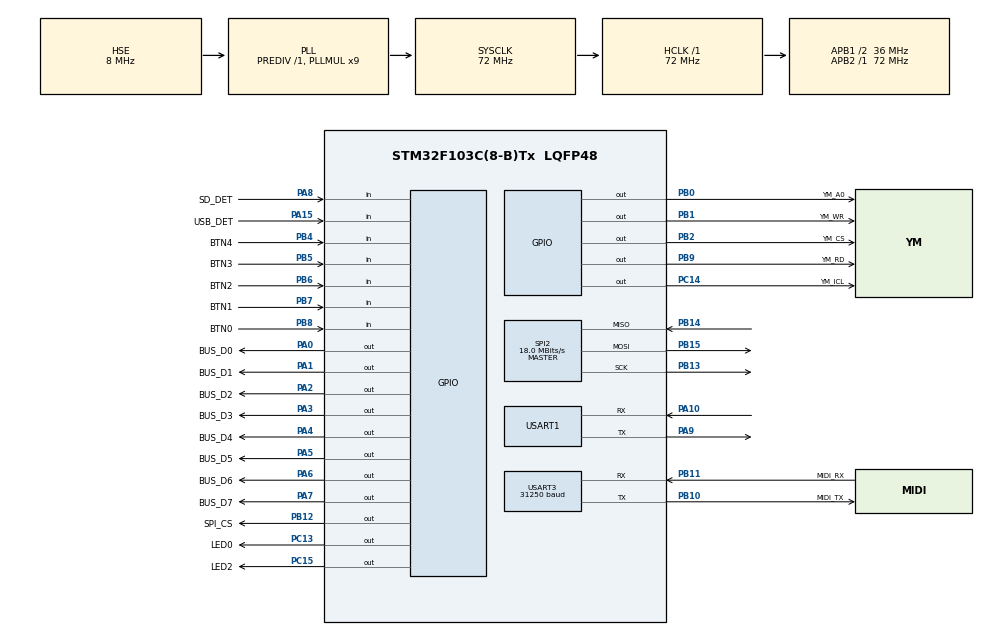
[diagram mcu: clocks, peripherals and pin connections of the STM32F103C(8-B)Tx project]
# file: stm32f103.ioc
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FATFS._FS_REENTRANT=0
FATFS._USE_LFN=0
FATFS._USE_MKFS=0
FATFS._USE_STRFUNC=1
FREERTOS.MEMORY_ALLOCATION=1
FREERTOS.Tasks01=defaultTask,2,768,StartDefaultTask,Default,NULL,Static,defaultTaskBuffer,defaultTaskControlBlock;myTask02,-2,128,StartTask02,Default,NULL,Static,myTask02Buffer,myTask02ControlBlock
FREERTOS.configCHECK_FOR_STACK_OVERFLOW=1
FREERTOS.configGENERATE_RUN_TIME_STATS=0
FREERTOS.configMINIMAL_STACK_SIZE=128
FREERTOS.configUSE_NEWLIB_REENTRANT=1
FREERTOS.configUSE_STATS_FORMATTING_FUNCTIONS=0
FREERTOS.configUSE_TRACE_FACILITY=0
Mcu.Family=STM32F1
Mcu.Name=STM32F103C(8-B)Tx
Mcu.Package=LQFP48
NVIC.PriorityGroup=NVIC_PRIORITYGROUP_4
NVIC.TIM1_UP_IRQn=true\:4\:0\:true\:false\:true\:false\:false\:true\:true
NVIC.TIM4_IRQn=true\:5\:0\:true\:false\:true\:true\:true\:true\:true
NVIC.TimeBase=TIM1_UP_IRQn
NVIC.TimeBaseIP=TIM1
PA0-WKUP.GPIO_Label=BUS_D0
PA0-WKUP.Signal=GPIO_Output
PA1.GPIO_Label=BUS_D1
PA1.Signal=GPIO_Output
PA10.Mode=Asynchronous
PA10.Signal=USART1_RX
PA11.Signal=USB_DM
PA12.Signal=USB_DP
PA13.Mode=Serial_Wire
PA13.Signal=SYS_JTMS-SWDIO
PA14.Mode=Serial_Wire
PA14.Signal=SYS_JTCK-SWCLK
PA15.GPIO_Label=USB_DET
PA15.Signal=GPIO_Input
PA2.GPIO_Label=BUS_D2
PA2.Signal=GPIO_Output
PA3.GPIO_Label=BUS_D3
PA3.Signal=GPIO_Output
PA4.GPIO_Label=BUS_D4
PA4.Signal=GPIO_Output
PA5.GPIO_Label=BUS_D5
PA5.Signal=GPIO_Output
PA6.GPIO_Label=BUS_D6
PA6.Signal=GPIO_Output
PA7.GPIO_Label=BUS_D7
PA7.Signal=GPIO_Output
PA8.GPIO_Label=SD_DET
PA8.Signal=GPIO_Input
PA9.Mode=Asynchronous
PA9.Signal=USART1_TX
PB0.GPIO_Label=YM_A0
PB0.Signal=GPIO_Output
PB1.GPIO_Label=YM_WR
PB1.Signal=GPIO_Output
PB10.GPIO_Label=MIDI_TX
PB10.Mode=Asynchronous
PB10.Signal=USART3_TX
PB11.GPIO_Label=MIDI_RX
PB11.Mode=Asynchronous
PB11.Signal=USART3_RX
PB12.GPIO_Label=SPI_CS
PB12.Signal=GPIO_Output
PB13.Mode=Full_Duplex_Master
PB13.Signal=SPI2_SCK
PB14.Mode=Full_Duplex_Master
PB14.Signal=SPI2_MISO
PB15.Mode=Full_Duplex_Master
PB15.Signal=SPI2_MOSI
PB2.GPIO_Label=YM_CS
PB2.Signal=GPIO_Output
PB3.Signal=SYS_JTDO-TRACESWO
PB4.GPIO_Label=BTN4
PB4.Signal=GPIO_Input
PB5.GPIO_Label=BTN3
PB5.Signal=GPIO_Input
PB6.GPIO_Label=BTN2
PB6.Signal=GPIO_Input
PB7.GPIO_Label=BTN1
PB7.Signal=GPIO_Input
PB8.GPIO_Label=BTN0
PB8.Signal=GPIO_Input
PB9.GPIO_Label=YM_RD
PB9.Signal=GPIO_Output
PC13-TAMPER-RTC.GPIO_Label=LED0
PC13-TAMPER-RTC.Signal=GPIO_Output
PC14-OSC32_IN.GPIO_Label=YM_ICL
PC14-OSC32_IN.Signal=GPIO_Output
PC15-OSC32_OUT.GPIO_Label=LED2
PC15-OSC32_OUT.Signal=GPIO_Output
PD0-OSC_IN.Mode=HSE-External-Oscillator
PD0-OSC_IN.Signal=RCC_OSC_IN
PD1-OSC_OUT.Mode=HSE-External-Oscillator
PD1-OSC_OUT.Signal=RCC_OSC_OUT
ProjectManager.HeapSize=0x400
ProjectManager.StackSize=0x200
ProjectManager.TargetToolchain=STM32CubeIDE
RCC.AHBFreq_Value=72000000
RCC.APB1CLKDivider=RCC_HCLK_DIV2
RCC.APB1Freq_Value=36000000
RCC.APB1TimFreq_Value=72000000
RCC.APB2Freq_Value=72000000
RCC.APB2TimFreq_Value=72000000
RCC.HCLKFreq_Value=72000000
RCC.PLLMUL=RCC_PLL_MUL9
RCC.PLLSourceVirtual=RCC_PLLSOURCE_HSE
RCC.SYSCLKFreq_VALUE=72000000
RCC.SYSCLKSource=RCC_SYSCLKSOURCE_PLLCLK
RCC.USBFreq_Value=48000000
RCC.USBPrescaler=RCC_USBCLKSOURCE_PLL_DIV1_5
SPI2.BaudRatePrescaler=SPI_BAUDRATEPRESCALER_2
SPI2.CalculateBaudRate=18.0 MBits/s
SPI2.Direction=SPI_DIRECTION_2LINES
SPI2.Mode=SPI_MODE_MASTER
SPI2.VirtualType=VM_MASTER
USART1.VirtualMode=VM_ASYNC
USART3.BaudRate=31250
USART3.Mode=MODE_RX
USART3.VirtualMode=VM_ASYNC
VP_FATFS_VS_Generic.Mode=User_defined
VP_FREERTOS_VS_CMSIS_V1.Mode=CMSIS_V1
VP_SYS_VS_tim1.Mode=TIM1
VP_TIM4_VS_ClockSourceINT.Mode=Internal
board=custom

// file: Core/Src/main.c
/* USER CODE BEGIN Header */
/**
 ******************************************************************************
 * @file           : main.c
 * @brief          : Main program body
 ******************************************************************************
 * @attention
 *
 * Copyright (c) 2022 STMicroelectronics.
 * All rights reserved.
 *
 * This software is licensed under terms that can be found in the LICENSE file
 * in the root directory of this software component.
 * If no LICENSE file comes with this software, it is provided AS-IS.
 *
 ******************************************************************************
 */
/* USER CODE END Header */
#include "main.h"
#include "cmsis_os.h"
#include "fatfs.h"

/* USER CODE BEGIN Includes */
#include <stdio.h>
#include <string.h>
//#include <stdarg.h> //for va_list var arg functions
#include <ctype.h>
#include "vgmheader.h"
/* USER CODE END Includes */

SPI_HandleTypeDef hspi2;

TIM_HandleTypeDef htim4;

UART_HandleTypeDef huart1;
UART_HandleTypeDef huart3;

osThreadId defaultTaskHandle;
uint32_t defaultTaskBuffer[ 768 ];
osStaticThreadDef_t defaultTaskControlBlock;
osThreadId myTask02Handle;
uint32_t myTask02Buffer[ 128 ];
osStaticThreadDef_t myTask02ControlBlock;
/* USER CODE BEGIN PV */
volatile unsigned long ulHighFrequencyTimerTicks;

/* USER CODE END PV */

void SystemClock_Config(void);
static void MX_GPIO_Init(void);
static void MX_SPI2_Init(void);
static void MX_USART1_UART_Init(void);
static void MX_USART3_UART_Init(void);
static void MX_TIM4_Init(void);
void StartDefaultTask(void const * argument);
void StartTask02(void const * argument);

/* USER CODE BEGIN PFP */
void myprintf(const char *fmt, ...);
/* USER CODE END PFP */

/* USER CODE BEGIN 0 */
int __io_putchar(int ch)
{
    HAL_UART_Transmit(&huart1, (uint8_t*)&ch, 1, -1);
}
/*void myprintf(const char *fmt, ...) {
  static char buffer[256];
  va_list args;
  va_start(args, fmt);
  vsnprintf(buffer, sizeof(buffer), fmt, args);
  va_end(args);

  int len = strlen(buffer);
  HAL_UART_Transmit(&huart1, (uint8_t*)buffer, len, -1);

}*/
#define myprintf printf
/* USER CODE END 0 */

int main(void)
{
  /* USER CODE BEGIN 1 */
    //initialise_monitor_handles();
  /* USER CODE END 1 */

  /* MCU Configuration--------------------------------------------------------*/

  /* Reset of all peripherals, Initializes the Flash interface and the Systick. */
  HAL_Init();

  /* Configure the system clock */
  SystemClock_Config();

  /* Initialize all configured peripherals */
  MX_GPIO_Init();
  MX_SPI2_Init();
  MX_USART1_UART_Init();
  MX_USART3_UART_Init();
  MX_FATFS_Init();
  MX_TIM4_Init();

  /* Create the thread(s) */
  /* definition and creation of defaultTask */
  osThreadStaticDef(defaultTask, StartDefaultTask, osPriorityHigh, 0, 768, defaultTaskBuffer, &defaultTaskControlBlock);
  defaultTaskHandle = osThreadCreate(osThread(defaultTask), NULL);

  /* definition and creation of myTask02 */
  osThreadStaticDef(myTask02, StartTask02, osPriorityLow, 0, 128, myTask02Buffer, &myTask02ControlBlock);
  myTask02Handle = osThreadCreate(osThread(myTask02), NULL);

  /* Start scheduler */
  osKernelStart();

  /* We should never get here as control is now taken by the scheduler */
  /* Infinite loop */
    while (1)
    {

    }
}

void SystemClock_Config(void)
{
  RCC_OscInitTypeDef RCC_OscInitStruct = {0};
  RCC_ClkInitTypeDef RCC_ClkInitStruct = {0};

  /** Initializes the RCC Oscillators according to the specified parameters
  * in the RCC_OscInitTypeDef structure.
  */
  RCC_OscInitStruct.OscillatorType = RCC_OSCILLATORTYPE_HSE;
  RCC_OscInitStruct.HSEState = RCC_HSE_ON;
  RCC_OscInitStruct.HSEPredivValue = RCC_HSE_PREDIV_DIV1;
  RCC_OscInitStruct.HSIState = RCC_HSI_ON;
  RCC_OscInitStruct.PLL.PLLState = RCC_PLL_ON;
  RCC_OscInitStruct.PLL.PLLSource = RCC_PLLSOURCE_HSE;
  RCC_OscInitStruct.PLL.PLLMUL = RCC_PLL_MUL9;
  if (HAL_RCC_OscConfig(&RCC_OscInitStruct) != HAL_OK)
  {
    Error_Handler();
  }

  /** Initializes the CPU, AHB and APB buses clocks
  */
  RCC_ClkInitStruct.ClockType = RCC_CLOCKTYPE_HCLK|RCC_CLOCKTYPE_SYSCLK
                              |RCC_CLOCKTYPE_PCLK1|RCC_CLOCKTYPE_PCLK2;
  RCC_ClkInitStruct.SYSCLKSource = RCC_SYSCLKSOURCE_PLLCLK;
  RCC_ClkInitStruct.AHBCLKDivider = RCC_SYSCLK_DIV1;
  RCC_ClkInitStruct.APB1CLKDivider = RCC_HCLK_DIV2;
  RCC_ClkInitStruct.APB2CLKDivider = RCC_HCLK_DIV1;

  if (HAL_RCC_ClockConfig(&RCC_ClkInitStruct, FLASH_LATENCY_2) != HAL_OK)
  {
    Error_Handler();
  }
}

static void MX_SPI2_Init(void)
{

  /* SPI2 parameter configuration*/
  hspi2.Instance = SPI2;
  hspi2.Init.Mode = SPI_MODE_MASTER;
  hspi2.Init.Direction = SPI_DIRECTION_2LINES;
  hspi2.Init.DataSize = SPI_DATASIZE_8BIT;
  hspi2.Init.CLKPolarity = SPI_POLARITY_LOW;
  hspi2.Init.CLKPhase = SPI_PHASE_1EDGE;
  hspi2.Init.NSS = SPI_NSS_SOFT;
  hspi2.Init.BaudRatePrescaler = SPI_BAUDRATEPRESCALER_2;
  hspi2.Init.FirstBit = SPI_FIRSTBIT_MSB;
  hspi2.Init.TIMode = SPI_TIMODE_DISABLE;
  hspi2.Init.CRCCalculation = SPI_CRCCALCULATION_DISABLE;
  hspi2.Init.CRCPolynomial = 10;
  if (HAL_SPI_Init(&hspi2) != HAL_OK)
  {
    Error_Handler();
  }

}

static void MX_TIM4_Init(void)
{

  TIM_ClockConfigTypeDef sClockSourceConfig = {0};
  TIM_MasterConfigTypeDef sMasterConfig = {0};

  htim4.Instance = TIM4;
  htim4.Init.Prescaler = 0;
  htim4.Init.CounterMode = TIM_COUNTERMODE_UP;
  htim4.Init.Period = 65535;
  htim4.Init.ClockDivision = TIM_CLOCKDIVISION_DIV1;
  htim4.Init.AutoReloadPreload = TIM_AUTORELOAD_PRELOAD_DISABLE;
  if (HAL_TIM_Base_Init(&htim4) != HAL_OK)
  {
    Error_Handler();
  }
  sClockSourceConfig.ClockSource = TIM_CLOCKSOURCE_INTERNAL;
  if (HAL_TIM_ConfigClockSource(&htim4, &sClockSourceConfig) != HAL_OK)
  {
    Error_Handler();
  }
  sMasterConfig.MasterOutputTrigger = TIM_TRGO_RESET;
  sMasterConfig.MasterSlaveMode = TIM_MASTERSLAVEMODE_DISABLE;
  if (HAL_TIMEx_MasterConfigSynchronization(&htim4, &sMasterConfig) != HAL_OK)
  {
    Error_Handler();
  }

}

static void MX_USART1_UART_Init(void)
{

  huart1.Instance = USART1;
  huart1.Init.BaudRate = 115200;
  huart1.Init.WordLength = UART_WORDLENGTH_8B;
  huart1.Init.StopBits = UART_STOPBITS_1;
  huart1.Init.Parity = UART_PARITY_NONE;
  huart1.Init.Mode = UART_MODE_TX_RX;
  huart1.Init.HwFlowCtl = UART_HWCONTROL_NONE;
  huart1.Init.OverSampling = UART_OVERSAMPLING_16;
  if (HAL_UART_Init(&huart1) != HAL_OK)
  {
    Error_Handler();
  }

}

static void MX_USART3_UART_Init(void)
{

  huart3.Instance = USART3;
  huart3.Init.BaudRate = 31250;
  huart3.Init.WordLength = UART_WORDLENGTH_8B;
  huart3.Init.StopBits = UART_STOPBITS_1;
  huart3.Init.Parity = UART_PARITY_NONE;
  huart3.Init.Mode = UART_MODE_RX;
  huart3.Init.HwFlowCtl = UART_HWCONTROL_NONE;
  huart3.Init.OverSampling = UART_OVERSAMPLING_16;
  if (HAL_UART_Init(&huart3) != HAL_OK)
  {
    Error_Handler();
  }

}

static void MX_GPIO_Init(void)
{
  GPIO_InitTypeDef GPIO_InitStruct = {0};

  /* GPIO Ports Clock Enable */
  __HAL_RCC_GPIOC_CLK_ENABLE();
  __HAL_RCC_GPIOD_CLK_ENABLE();
  __HAL_RCC_GPIOA_CLK_ENABLE();
  __HAL_RCC_GPIOB_CLK_ENABLE();

  /*Configure GPIO pin Output Level */
  HAL_GPIO_WritePin(GPIOC, LED0_Pin|YM_ICL_Pin|LED2_Pin, GPIO_PIN_RESET);

  /*Configure GPIO pin Output Level */
  HAL_GPIO_WritePin(GPIOA, BUS_D0_Pin|BUS_D1_Pin|BUS_D2_Pin|BUS_D3_Pin
                          |BUS_D4_Pin|BUS_D5_Pin|BUS_D6_Pin|BUS_D7_Pin, GPIO_PIN_RESET);

  /*Configure GPIO pin Output Level */
  HAL_GPIO_WritePin(GPIOB, YM_A0_Pin|YM_WR_Pin|YM_CS_Pin|SPI_CS_Pin
                          |YM_RD_Pin, GPIO_PIN_RESET);

  /*Configure GPIO pins : LED0_Pin YM_ICL_Pin LED2_Pin */
  GPIO_InitStruct.Pin = LED0_Pin|YM_ICL_Pin|LED2_Pin;
  GPIO_InitStruct.Mode = GPIO_MODE_OUTPUT_PP;
  GPIO_InitStruct.Pull = GPIO_NOPULL;
  GPIO_InitStruct.Speed = GPIO_SPEED_FREQ_LOW;
  HAL_GPIO_Init(GPIOC, &GPIO_InitStruct);

  /*Configure GPIO pins : BUS_D0_Pin BUS_D1_Pin BUS_D2_Pin BUS_D3_Pin
                           BUS_D4_Pin BUS_D5_Pin BUS_D6_Pin BUS_D7_Pin */
  GPIO_InitStruct.Pin = BUS_D0_Pin|BUS_D1_Pin|BUS_D2_Pin|BUS_D3_Pin
                          |BUS_D4_Pin|BUS_D5_Pin|BUS_D6_Pin|BUS_D7_Pin;
  GPIO_InitStruct.Mode = GPIO_MODE_OUTPUT_PP;
  GPIO_InitStruct.Pull = GPIO_NOPULL;
  GPIO_InitStruct.Speed = GPIO_SPEED_FREQ_LOW;
  HAL_GPIO_Init(GPIOA, &GPIO_InitStruct);

  /*Configure GPIO pins : YM_A0_Pin YM_WR_Pin YM_CS_Pin SPI_CS_Pin
                           YM_RD_Pin */
  GPIO_InitStruct.Pin = YM_A0_Pin|YM_WR_Pin|YM_CS_Pin|SPI_CS_Pin
                          |YM_RD_Pin;
  GPIO_InitStruct.Mode = GPIO_MODE_OUTPUT_PP;
  GPIO_InitStruct.Pull = GPIO_NOPULL;
  GPIO_InitStruct.Speed = GPIO_SPEED_FREQ_LOW;
  HAL_GPIO_Init(GPIOB, &GPIO_InitStruct);

  /*Configure GPIO pins : SD_DET_Pin USB_DET_Pin */
  GPIO_InitStruct.Pin = SD_DET_Pin|USB_DET_Pin;
  GPIO_InitStruct.Mode = GPIO_MODE_INPUT;
  GPIO_InitStruct.Pull = GPIO_NOPULL;
  HAL_GPIO_Init(GPIOA, &GPIO_InitStruct);

  /*Configure GPIO pins : BTN4_Pin BTN3_Pin BTN2_Pin BTN1_Pin
                           BTN0_Pin */
  GPIO_InitStruct.Pin = BTN4_Pin|BTN3_Pin|BTN2_Pin|BTN1_Pin
                          |BTN0_Pin;
  GPIO_InitStruct.Mode = GPIO_MODE_INPUT;
  GPIO_InitStruct.Pull = GPIO_NOPULL;
  HAL_GPIO_Init(GPIOB, &GPIO_InitStruct);

}

/* USER CODE BEGIN 4 */

volatile int32_t waitSamples = 0;

#define HAL_GPIO_WriteNamedPin(name, value) HAL_GPIO_WritePin(name##_GPIO_Port, name##_Pin, value)

/* Code taken from https://github.com/AidanHockey5/YM2151_Arcade_Classic_2/ */

void ym2151_write(uint8_t addr, uint8_t data)
{
    HAL_GPIO_WriteNamedPin(YM_CS, 0); // CS Low
    HAL_GPIO_WriteNamedPin(YM_A0, 0); // A0 Low

    HAL_GPIO_WriteNamedPin(BUS_D0, addr & (1 << 0));
    HAL_GPIO_WriteNamedPin(BUS_D1, addr & (1 << 1));
    HAL_GPIO_WriteNamedPin(BUS_D2, addr & (1 << 2));
    HAL_GPIO_WriteNamedPin(BUS_D3, addr & (1 << 3));
    HAL_GPIO_WriteNamedPin(BUS_D4, addr & (1 << 4));
    HAL_GPIO_WriteNamedPin(BUS_D5, addr & (1 << 5));
    HAL_GPIO_WriteNamedPin(BUS_D6, addr & (1 << 6));
    HAL_GPIO_WriteNamedPin(BUS_D7, addr & (1 << 7));

    __NOP(); // 240ns

    HAL_GPIO_WriteNamedPin(YM_WR, 0); // WR Low
    __NOP();                          // 240ns
    HAL_GPIO_WriteNamedPin(YM_WR, 1); // WR High
    __NOP();                          // 125ns
    HAL_GPIO_WriteNamedPin(YM_A0, 1); // A0 High
    __NOP();                          // 125ns

    HAL_GPIO_WriteNamedPin(BUS_D0, data & (1 << 0));
    HAL_GPIO_WriteNamedPin(BUS_D1, data & (1 << 1));
    HAL_GPIO_WriteNamedPin(BUS_D2, data & (1 << 2));
    HAL_GPIO_WriteNamedPin(BUS_D3, data & (1 << 3));
    HAL_GPIO_WriteNamedPin(BUS_D4, data & (1 << 4));
    HAL_GPIO_WriteNamedPin(BUS_D5, data & (1 << 5));
    HAL_GPIO_WriteNamedPin(BUS_D6, data & (1 << 6));
    HAL_GPIO_WriteNamedPin(BUS_D7, data & (1 << 7));

    __NOP(); // 240ns

    HAL_GPIO_WriteNamedPin(YM_WR, 0); // WR Low
    __NOP();                          // 240ns
    HAL_GPIO_WriteNamedPin(YM_WR, 1); // WR High

    HAL_GPIO_WriteNamedPin(YM_CS, 1); // CS High

    __NOP();
    __NOP();
    __NOP();
    __NOP();
    __NOP();
    __NOP(); // Busy flag on chip will be set, but we can't read it since MCU is 3.3V. 11 micros is about the time where the worst-case busy clear time is satisfied.
             // Writing again too quickly will corrupt the data on the chip
}

void ym2151_reset(void)
{
    HAL_GPIO_WriteNamedPin(YM_ICL, 0); // ICL Low
    osDelay(1);
    HAL_GPIO_WriteNamedPin(YM_ICL, 1); // ICL High
    osDelay(1);
}

void samples_wait(uint32_t samples)
{
    HAL_GPIO_WritePin(LED0_GPIO_Port, LED0_Pin, 0);

    waitSamples = samples;

    ulTaskNotifyTake(0, portMAX_DELAY);

    HAL_GPIO_WritePin(LED0_GPIO_Port, LED0_Pin, 1);
}

vgm_header header;
void process_vgm(char *path)
{
    FIL fil;      // File handle
    FRESULT fres; // Result after operations
    uint16_t loopCount = 0;
    uint32_t loopPos = 0; // The location of the 0x66 command

    myprintf("%s: processing '%s'\n", __func__, path);

    fres = f_open(&fil, path, FA_READ);
    if (fres != FR_OK)
    {
        myprintf("f_open error (%i)\n", fres);
        return;
    }

    unsigned int read = 0;
    fres = f_read(&fil, &header, sizeof(header), &read);
    if (fres != FR_OK)
    {
        myprintf("f_read error (%i)\n", fres);
        goto cleanup;
    }
    if (read != sizeof(header))
    {
        myprintf("f_read size mismatch (%i)\n", fres);
        goto cleanup;
    }

    myprintf("  ym2151Clock = %ld Hz\n", (unsigned int)header.ym2151Clock);
    myprintf("  rate = %ld\n", (unsigned int)header.rate);
    /*myprintf("  indent = 0x%x\n", (unsigned int)header.indent);
    myprintf("  EoF = 0x%x\n", (unsigned int)header.EoF);
    myprintf("  version = 0x%x\n", (unsigned int)header.version);
    myprintf("  sn76489Clock = 0x%x\n", (unsigned int)header.sn76489Clock);
    myprintf("  ym2413Clock = 0x%x\n", (unsigned int)header.ym2413Clock);
    myprintf("  gd3Offset = 0x%x\n", (unsigned int)header.gd3Offset);
    myprintf("  totalSamples = 0x%x\n", (unsigned int)header.totalSamples);
    myprintf("  loopOffset = 0x%x\n", (unsigned int)header.loopOffset);
    myprintf("  loopNumSamples = 0x%x\n", (unsigned int)header.loopNumSamples);
    myprintf("  rate = 0x%x\n", (unsigned int)header.rate);
    myprintf("  snX = 0x%x\n", (unsigned int)header.snX);
    myprintf("  ym2612Clock = 0x%x\n", (unsigned int)header.ym2612Clock);
    myprintf("  ym2151Clock = 0x%x\n", (unsigned int)header.ym2151Clock);
    myprintf("  vgmDataOffset = 0x%x\n", (unsigned int)header.vgmDataOffset);
    myprintf("  segaPCMClock = 0x%x\n", (unsigned int)header.segaPCMClock);
    myprintf("  spcmInterface = 0x%x\n", (unsigned int)header.spcmInterface);
    myprintf("  rf5C68clock = 0x%x\n", (unsigned int)header.rf5C68clock);
    myprintf("  ym2203clock = 0x%x\n", (unsigned int)header.ym2203clock);
    myprintf("  ym2608clock = 0x%x\n", (unsigned int)header.ym2608clock);
    myprintf("  ym2610clock = 0x%x\n", (unsigned int)header.ym2610clock);
    myprintf("  ym3812clock = 0x%x\n", (unsigned int)header.ym3812clock);
    myprintf("  ym3526clock = 0x%x\n", (unsigned int)header.ym3526clock);
    myprintf("  y8950clock = 0x%x\n", (unsigned int)header.y8950clock);
    myprintf("  ymf262clock = 0x%x\n", (unsigned int)header.ymf262clock);
    myprintf("  ymf278bclock = 0x%x\n", (unsigned int)header.ymf278bclock);
    myprintf("  ymf271clock = 0x%x\n", (unsigned int)header.ymf271clock);
    myprintf("  ymz280Bclock = 0x%x\n", (unsigned int)header.ymz280Bclock);
    myprintf("  rf5C164clock = 0x%x\n", (unsigned int)header.rf5C164clock);
    myprintf("  pwmclock = 0x%x\n", (unsigned int)header.pwmclock);
    myprintf("  ay8910clock = 0x%x\n", (unsigned int)header.ay8910clock);
    myprintf("  ayclockflags = 0x%x\n", (unsigned int)header.ayclockflags);
    myprintf("  vmlblm = 0x%x\n", (unsigned int)header.vmlblm);
    myprintf("  gbdgmclock = 0x%x\n", (unsigned int)header.gbdgmclock);
    myprintf("  nesapuclock = 0x%x\n", (unsigned int)header.nesapuclock);
    myprintf("  multipcmclock = 0x%x\n", (unsigned int)header.multipcmclock);
    myprintf("  upd7759clock = 0x%x\n", (unsigned int)header.upd7759clock);
    myprintf("  okim6258clock = 0x%x\n", (unsigned int)header.okim6258clock);
    myprintf("  ofkfcf = 0x%x\n", (unsigned int)header.ofkfcf);
    myprintf("  okim6295clock = 0x%x\n", (unsigned int)header.okim6295clock);
    myprintf("  k051649clock = 0x%x\n", (unsigned int)header.k051649clock);
    myprintf("  k054539clock = 0x%x\n", (unsigned int)header.k054539clock);
    myprintf("  huc6280clock = 0x%x\n", (unsigned int)header.huc6280clock);
    myprintf("  c140clock = 0x%x\n", (unsigned int)header.c140clock);
    myprintf("  k053260clock = 0x%x\n", (unsigned int)header.k053260clock);
    myprintf("  pokeyclock = 0x%x\n", (unsigned int)header.pokeyclock);
    myprintf("  qsoundclock = 0x%x\n", (unsigned int)header.qsoundclock);
    myprintf("  scspclock = 0x%x\n", (unsigned int)header.scspclock);
    myprintf("  extrahdrofs = 0x%x\n", (unsigned int)header.extrahdrofs);
    myprintf("  wonderswanclock = 0x%x\n", (unsigned int)header.wonderswanclock);
    myprintf("  vsuClock = 0x%x\n", (unsigned int)header.vsuClock);
    myprintf("  saa1099clock = 0x%x\n", (unsigned int)header.saa1099clock);
    myprintf("  es5503clock = 0x%x\n", (unsigned int)header.es5503clock);
    myprintf("  es5506clock = 0x%x\n", (unsigned int)header.es5506clock);
    myprintf("  eschcdxx = 0x%x\n", (unsigned int)header.eschcdxx);
    myprintf("  x1010clock = 0x%x\n", (unsigned int)header.x1010clock);
    myprintf("  c352clock = 0x%x\n", (unsigned int)header.c352clock);
    myprintf("  ga20clock = 0x%x\n", (unsigned int)header.ga20clock);*/

    if (header.vgmDataOffset == 0)
    {
        f_lseek(&fil, 0x40);
    }
    else
    {
        f_lseek(&fil, header.vgmDataOffset + 0x34);
    }

    if (header.gd3Offset != 0)
    {
        loopPos = header.gd3Offset + 0x14 - 1;
    }
    else
    {
        loopPos = header.EoF + 4 - 1;
    }

    ym2151_reset();

    uint8_t breakit = 0;
    while (breakit == 0)
    {
        uint8_t cmd;
        uint8_t data;
        uint8_t addr;
        uint16_t nsamples;
        fres = f_read(&fil, &cmd, 1, &read);
        if (read != 1)
        {
            myprintf("read != 1 (%i)\r\n", read);
            goto cleanup;
        }

        switch (cmd)
        {
        case 0x31:
        {
            f_read(&fil, &data, 1, &read);
            break;
        }
        case 0x4f:
        {
            f_read(&fil, &data, 1, &read);
            break;
        }
        case 0x50:
        {
            f_read(&fil, &data, 1, &read);
            break;
        }

        case 0x51:
        {
            f_read(&fil, &addr, 1, &read);
            f_read(&fil, &data, 1, &read);
            break;
        }
        case 0x52:
        {
            f_read(&fil, &addr, 1, &read);
            f_read(&fil, &data, 1, &read);
            break;
        }
        case 0x53:
        {
            f_read(&fil, &addr, 1, &read);
            f_read(&fil, &data, 1, &read);
            break;
        }
        case 0x54:
        {
            f_read(&fil, &addr, 1, &read);
            f_read(&fil, &data, 1, &read);

            // myprintf("ym2151_write addr = 0x%x, data = 0x%x\r\n", addr, data);
            ym2151_write(addr, data);
            break;
        }
        case 0x55:
        {
            f_read(&fil, &addr, 1, &read);
            f_read(&fil, &data, 1, &read);
            break;
        }
        case 0x56:
        {
            f_read(&fil, &addr, 1, &read);
            f_read(&fil, &data, 1, &read);
            break;
        }
        case 0x57:
        {
            f_read(&fil, &addr, 1, &read);
            f_read(&fil, &data, 1, &read);
            break;
        }
        case 0x58:
        {
            f_read(&fil, &addr, 1, &read);
            f_read(&fil, &data, 1, &read);
            break;
        }
        case 0x59:
        {
            f_read(&fil, &addr, 1, &read);
            f_read(&fil, &data, 1, &read);
            break;
        }
        case 0x5a:
        {
            f_read(&fil, &addr, 1, &read);
            f_read(&fil, &data, 1, &read);
            break;
        }
        case 0x5b:
        {
            f_read(&fil, &addr, 1, &read);
            f_read(&fil, &data, 1, &read);
            break;
        }
        case 0x5c:
        {
            f_read(&fil, &addr, 1, &read);
            f_read(&fil, &data, 1, &read);
            break;
        }
        case 0x5d:
        {
            f_read(&fil, &addr, 1, &read);
            f_read(&fil, &data, 1, &read);
            break;
        }
        case 0x5e:
        {
            f_read(&fil, &addr, 1, &read);
            f_read(&fil, &data, 1, &read);
            break;
        }
        case 0x5f:
        {
            f_read(&fil, &addr, 1, &read);
            f_read(&fil, &data, 1, &read);
            break;
        }

        case 0x61:
        {
            f_read(&fil, &nsamples, 2, &read);
            samples_wait(nsamples);
            break;
        }
        case 0x62:
        {
            samples_wait(735);
            break;
        }
        case 0x63:
        {
            samples_wait(882);
            break;
        }
        case 0x66:
        {
            // Loop
            // if(maxLoops != 0xFFFF) //If sent to short int max, just loop forever
            //     loopCount++;
            //
            if (++loopCount < 1)
            {
                myprintf(" looping once!\n");
                if (header.loopOffset != 0)
                {
                    f_lseek(&fil, header.loopOffset + 0x1c);
                }
                else
                {
                    if (header.vgmDataOffset == 0)
                    {
                        f_lseek(&fil, 0x40);
                    }
                    else
                    {
                        f_lseek(&fil, header.vgmDataOffset + 0x34);
                    }
                }
            }
            else
            {
                breakit = 1;
            }
            break;
        }
        case 0x67:
        {
            f_read(&fil, &data, 1, &read);
            f_read(&fil, &data, 1, &read);
            uint32_t pcmSize;
            f_read(&fil, &pcmSize, 4, &read);
            for (uint32_t i = 0; i < pcmSize; i++)
            {
                f_read(&fil, &data, 1, &read);
            }
            break;
        }
        case 0x68:
        {
            myprintf("0x68 found, at 0x%x\n", f_tell(&fil));
            f_read(&fil, &data, 1, &read);
            f_read(&fil, &data, 1, &read);

            f_read(&fil, &data, 1, &read);
            f_read(&fil, &data, 1, &read);
            f_read(&fil, &data, 1, &read);

            f_read(&fil, &data, 1, &read);
            f_read(&fil, &data, 1, &read);
            f_read(&fil, &data, 1, &read);

            uint32_t pcmSize = 0;
            f_read(&fil, &pcmSize, 3, &read);
            for (uint32_t i = 0; i < pcmSize; i++)
            {
                f_read(&fil, &data, 1, &read);
            }
            break;
        }

        case 0x70:
        case 0x71:
        case 0x72:
        case 0x73:
        case 0x74:
        case 0x75:
        case 0x76:
        case 0x77:
        case 0x78:
        case 0x79:
        case 0x7A:
        case 0x7B:
        case 0x7C:
        case 0x7D:
        case 0x7E:
        case 0x7F:
        {
            samples_wait((cmd & 0xf) + 1);
            break;
        }

        case 0x80:
        case 0x81:
        case 0x82:
        case 0x83:
        case 0x84:
        case 0x85:
        case 0x86:
        case 0x87:
        case 0x88:
        case 0x89:
        case 0x8A:
        case 0x8B:
        case 0x8C:
        case 0x8D:
        case 0x8E:
        case 0x8F:
        {
            break;
        }

        case 0x90:
        {
            f_read(&fil, &nsamples, 2, &read);
            f_read(&fil, &nsamples, 2, &read);
            break;
        }
        case 0x91:
        {
            f_read(&fil, &nsamples, 2, &read);
            f_read(&fil, &nsamples, 2, &read);
            break;
        }
        case 0x92:
        {
            f_read(&fil, &data, 1, &read);
            uint32_t streamFreq;
            f_read(&fil, &streamFreq, 4, &read);
            break;
        }
        case 0x93:
        {
            f_read(&fil, &data, 1, &read);
            uint32_t streamFreq;
            f_read(&fil, &streamFreq, 4, &read);
            f_read(&fil, &data, 1, &read);
            f_read(&fil, &streamFreq, 4, &read);
            break;
        }
        case 0x94:
        {
            f_read(&fil, &data, 1, &read);
            break;
        }
        case 0x95:
        {
            f_read(&fil, &data, 1, &read);
            f_read(&fil, &nsamples, 2, &read);
            f_read(&fil, &data, 1, &read);
            break;
        }

        case 0xA0:
        case 0xB0:
        case 0xB1:
        case 0xB2:
        case 0xB5: // Ignore common secondary PCM chips
        case 0xB6:
        case 0xB7:
        case 0xB8:
        case 0xB9:
        case 0xBA:
        case 0xBB:
        case 0xBC:
        case 0xBD:
        case 0xBE:
        case 0xBF:
        {
            f_read(&fil, &nsamples, 2, &read);
            break;
        }

        case 0xC0: // 24 bit write PCM chips
        case 0xC1:
        case 0xC2:
        case 0xC3:
        case 0xC4:
        case 0xC5:
        case 0xC6:
        case 0xC7:
        case 0xC8:
        case 0xD0:
        case 0xD1:
        case 0xD2:
        case 0xD3:
        case 0xD4:
        case 0xD5:
        case 0xD6:
        {
            f_read(&fil, &data, 1, &read);
            f_read(&fil, &data, 1, &read);
            f_read(&fil, &data, 1, &read);
            break;
        }

        case 0xE0:
        {
            uint32_t dummy;
            f_read(&fil, &dummy, 4, &read);
            break;
        }
        case 0xE1:
        {
            uint32_t dummy;
            f_read(&fil, &dummy, 4, &read);
            break;
        }

        default:
        {
            myprintf("Unhandled case 0x%x\n", cmd);
            break;
        }
        }
    }

    ym2151_reset();

cleanup:
    f_close(&fil);
}
/* USER CODE END 4 */

void StartDefaultTask(void const * argument)
{
  /* USER CODE BEGIN 5 */
    myprintf("Hey dude! " __TIME__ " " __DATE__ "\n");
    myprintf("Running at %ld Hz\n", SystemCoreClock);

    HAL_Delay(1000); // a short delay is important to let the SD card settle

    HAL_GPIO_WriteNamedPin(YM_RD, 1);
    HAL_GPIO_WriteNamedPin(YM_WR, 1);
    HAL_GPIO_WriteNamedPin(YM_CS, 1);
    HAL_GPIO_WriteNamedPin(YM_A0, 0);

    uint32_t ARR_RegisterValue;
    uint32_t PeriodTicks;
    uint32_t Prescalerfactor;
    uint32_t period_cyc;

    period_cyc = SystemCoreClock / 44100;
    Prescalerfactor = (period_cyc / 0x10000) + 1;
    __HAL_TIM_SET_PRESCALER(&htim4, Prescalerfactor - 1);
    PeriodTicks = period_cyc / Prescalerfactor;

    if (PeriodTicks > 0)
    {
        // The register specifies the maximum value, so the period is really one tick longer
        ARR_RegisterValue = PeriodTicks - 1;
    }
    else
    {
        // But do not underflow in case a zero period was given somehow.
        ARR_RegisterValue = 0;
    }
    __HAL_TIM_SET_AUTORELOAD(&htim4, ARR_RegisterValue);
    // Start timer in Time base mode. Required when there is no channel used but only update interrupt.
    HAL_TIM_Base_Start_IT(&htim4);

    // some variables for FatFs
    FATFS FatFs;  // Fatfs handle
    FRESULT fres; // Result after operations

    // Open the file system
    fres = f_mount(&FatFs, "", 1); // 1=mount now
    if (fres != FR_OK)
    {
        myprintf("f_mount error (%i)\n", fres);
        while (1)
            ;
    }

    // Let's get some statistics from the SD card
    DWORD free_clusters, free_sectors, total_sectors;

    FATFS *getFreeFs;

    fres = f_getfree("", &free_clusters, &getFreeFs);
    if (fres != FR_OK)
    {
        myprintf("f_getfree error (%i)\n", fres);
        while (1)
            ;
    }

    // Formula comes from ChaN's documentation
    total_sectors = (getFreeFs->n_fatent - 2) * getFreeFs->csize;
    free_sectors = free_clusters * getFreeFs->csize;

    myprintf("SD card stats:\n%10lu KiB total drive space.\n%10lu KiB available.\n", total_sectors / 2, free_sectors / 2);
    FRESULT res;
    DIR dir;
    static FILINFO fno;

    for (;;)
    {
        res = f_opendir(&dir, "/"); /* Open the directory */
        if (res == FR_OK)
        {
            for (;;)
            {
                res = f_readdir(&dir, &fno); /* Read a directory item */
                if (res != FR_OK || fno.fname[0] == 0)
                    break; /* Break on error or end of dir */
                if (fno.fattrib & AM_DIR)
                { /* It is a directory */
                }
                else
                { /* It is a file. */
                    myprintf("%s\n", fno.fname);
                    if (strstr(fno.fname, ".VGM"))
                    {
                        process_vgm(fno.fname);
                    }
                }
            }
            f_closedir(&dir);
        }
    }

    /*

      //Read 30 bytes from "test.txt" on the SD card
      BYTE readBuf[30];

      //Now let's try to open file "test.txt"
      fres = f_open(&fil, "test.txt", FA_READ);
      if (fres != FR_OK) {
        myprintf("f_open error (%i)\n", fres);
        //while(1);
      }
      else
      {
        myprintf("I was able to open 'test.txt' for reading!\n");

        //We can either use f_read OR f_gets to get data out of files
        //f_gets is a wrapper on f_read that does some string formatting for us
        TCHAR* rres = f_gets((TCHAR*)readBuf, 30, &fil);
        if(rres != 0) {
        myprintf("Read string from 'test.txt' contents: %s\n", readBuf);
        } else {
        myprintf("f_gets error (%i)\n", fres);
        }

        //Be a tidy kiwi - don't forget to close your file!
        f_close(&fil);
      }

      //Now let's try and write a file "write.txt"
      fres = f_open(&fil, "write.txt", FA_WRITE | FA_OPEN_ALWAYS | FA_CREATE_ALWAYS);
      if(fres == FR_OK) {
      myprintf("I was able to open 'write.txt' for writing\n");
      } else {
      myprintf("f_open error (%i)\n", fres);
      }

      //Copy in a string
      strncpy((char*)readBuf, "a new file is made!", 19);
      UINT bytesWrote;
      fres = f_write(&fil, readBuf, 19, &bytesWrote);
      if(fres == FR_OK) {
      myprintf("Wrote %i bytes to 'write.txt'!\n", bytesWrote);
      } else {
      myprintf("f_write error (%i)\n");
      }

      //Be a tidy kiwi - don't forget to close your file!
      f_close(&fil);

    */

    // We're done, so de-mount the drive
    f_mount(NULL, "", 0);

    /* Infinite loop */
    for (;;)
    {
        osDelay(100);
        HAL_GPIO_TogglePin(GPIOC, GPIO_PIN_13);
    }
  /* USER CODE END 5 */
}

void StartTask02(void const * argument)
{
  /* USER CODE BEGIN StartTask02 */
  /* Infinite loop */
  for(;;)
  {
    HAL_GPIO_TogglePin(LED2_GPIO_Port, LED2_Pin);
    osDelay(500);
  }
  /* USER CODE END StartTask02 */
}

void HAL_TIM_PeriodElapsedCallback(TIM_HandleTypeDef *htim)
{
  if (htim->Instance == TIM1) {
    HAL_IncTick();
  }
  /* USER CODE BEGIN Callback 1 */
    else if (htim == &htim4)
    {
        if (waitSamples)
        {
            waitSamples--;
            if (waitSamples == 0)
            {
                BaseType_t xHigherPriorityTaskWoken = pdFALSE;
                vTaskNotifyGiveFromISR(defaultTaskHandle, &xHigherPriorityTaskWoken);
                portYIELD_FROM_ISR( xHigherPriorityTaskWoken );
            }
        }
    }
  /* USER CODE END Callback 1 */
}

void Error_Handler(void)
{
    __disable_irq();
    while (1)
    {
    }
}

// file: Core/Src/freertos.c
/* USER CODE BEGIN Header */
/**
  ******************************************************************************
  * File Name          : freertos.c
  * Description        : Code for freertos applications
  ******************************************************************************
  * @attention
  *
  * Copyright (c) 2022 STMicroelectronics.
  * All rights reserved.
  *
  * This software is licensed under terms that can be found in the LICENSE file
  * in the root directory of this software component.
  * If no LICENSE file comes with this software, it is provided AS-IS.
  *
  ******************************************************************************
  */
/* USER CODE END Header */

#include "FreeRTOS.h"
#include "task.h"
#include "main.h"

/* GetIdleTaskMemory prototype (linked to static allocation support) */
void vApplicationGetIdleTaskMemory( StaticTask_t **ppxIdleTaskTCBBuffer, StackType_t **ppxIdleTaskStackBuffer, uint32_t *pulIdleTaskStackSize );

/* Hook prototypes */
void vApplicationStackOverflowHook(xTaskHandle xTask, signed char *pcTaskName);

/* USER CODE BEGIN 4 */
__weak void vApplicationStackOverflowHook(xTaskHandle xTask, signed char *pcTaskName)
{
   /* Run time stack overflow checking is performed if
   configCHECK_FOR_STACK_OVERFLOW is defined to 1 or 2. This hook function is
   called if a stack overflow is detected. */
}
/* USER CODE END 4 */

/* USER CODE BEGIN GET_IDLE_TASK_MEMORY */
static StaticTask_t xIdleTaskTCBBuffer;
static StackType_t xIdleStack[configMINIMAL_STACK_SIZE];

void vApplicationGetIdleTaskMemory( StaticTask_t **ppxIdleTaskTCBBuffer, StackType_t **ppxIdleTaskStackBuffer, uint32_t *pulIdleTaskStackSize )
{
  *ppxIdleTaskTCBBuffer = &xIdleTaskTCBBuffer;
  *ppxIdleTaskStackBuffer = &xIdleStack[0];
  *pulIdleTaskStackSize = configMINIMAL_STACK_SIZE;
  /* place for user code */
}
/* USER CODE END GET_IDLE_TASK_MEMORY */
